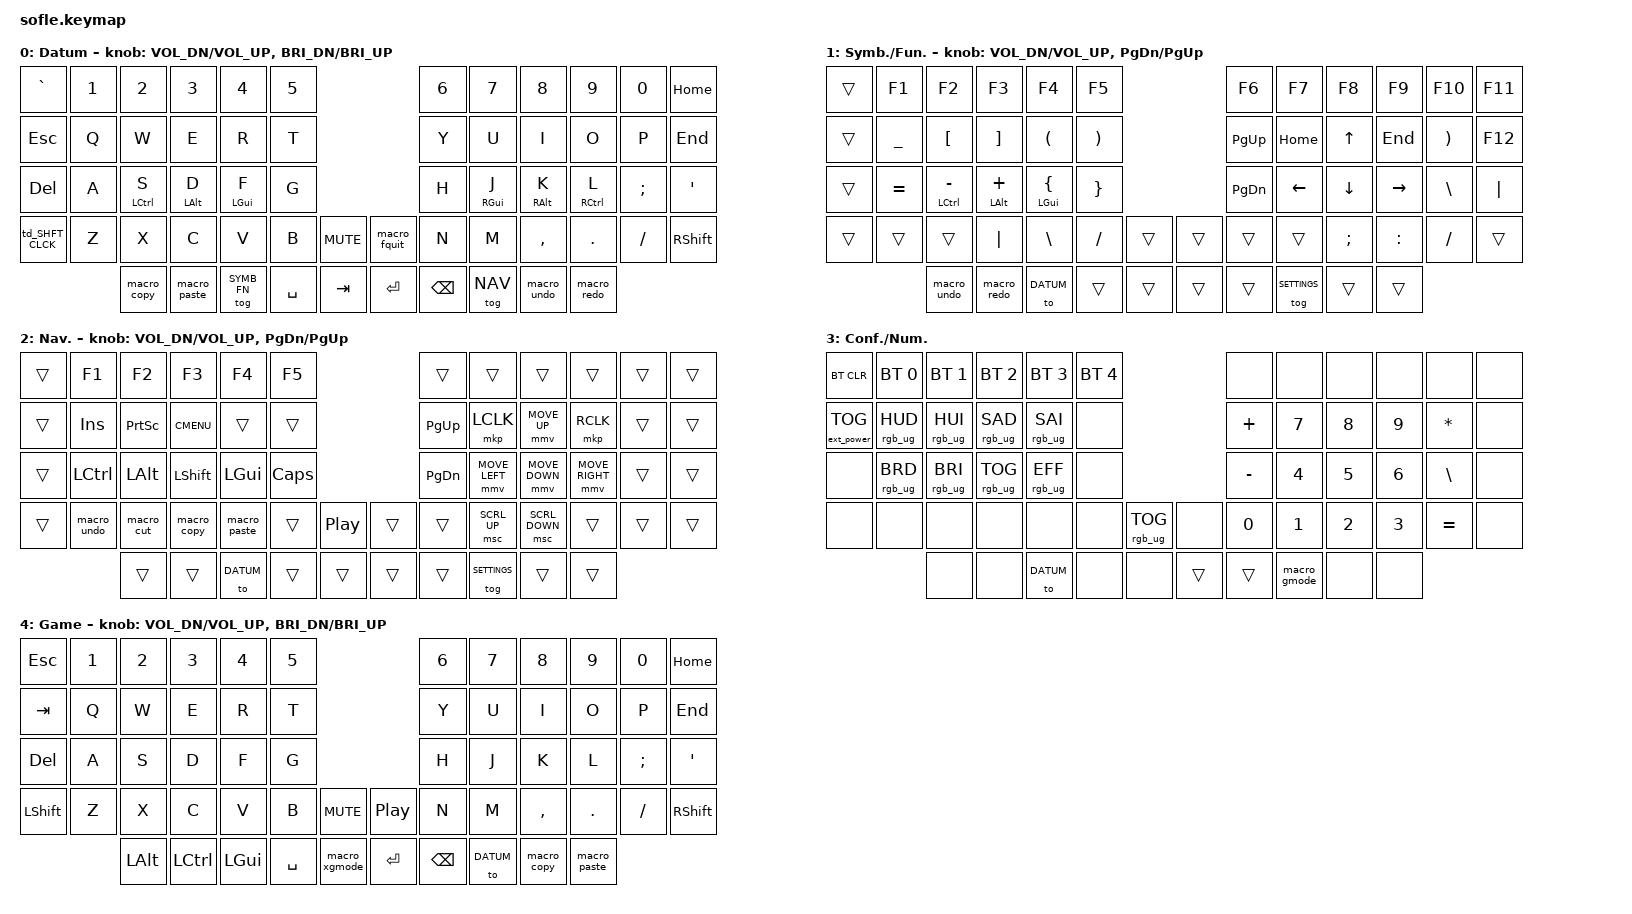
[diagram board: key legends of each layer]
/*
 * Copyright (c) 2020 The ZMK Contributors
 *
 * SPDX-License-Identifier: MIT
 */

#include <behaviors.dtsi>
#include <dt-bindings/zmk/keys.h>
#include <dt-bindings/zmk/bt.h>
#include <dt-bindings/zmk/rgb.h>
#include <dt-bindings/zmk/ext_power.h>
#include <dt-bindings/zmk/pointing.h>

#define DATUM 0
#define SYMB_FN 1
#define NAV 2
#define SETTINGS 3
#define GAME 4

/ {

    // Homerow mods (short tap term), tapdance shift/capslock
      behaviors {
              hm: homerow_mods {
                  compatible = "zmk,behavior-hold-tap";
                  #binding-cells = <2>;
                  tapping-term-ms = <300>;
                  quick-tap-ms = <0>;
                  flavor = "tap-preferred";
                  bindings = <&kp>, <&kp>;
              };

              td_SHFT_CLCK: tap_dance_0 {
                compatible = "zmk,behavior-tap-dance";
                #binding-cells = <0>;
                tapping-term-ms = <200>;
                bindings = <&kp LSHFT>, <&kp CLCK>;
              };
          };

    // Macros
      macros {
          macro_copy: macro_copy {
              compatible = "zmk,behavior-macro";
              #binding-cells = <0>;
              bindings
                  = <&macro_press &kp LGUI>
                  , <&macro_tap &kp C>
                  , <&macro_release &kp LGUI>
                  ;
          };

          macro_paste: macro_paste {
              compatible = "zmk,behavior-macro";
              #binding-cells = <0>;
              bindings
                  = <&macro_press &kp LGUI>
                  , <&macro_tap &kp V>
                  , <&macro_release &kp LGUI>
                  ;
          };

          macro_undo: macro_undo {
              compatible = "zmk,behavior-macro";
              #binding-cells = <0>;
              bindings
                  = <&macro_press &kp LGUI>
                  , <&macro_tap &kp Z>
                  , <&macro_release &kp LGUI>
                  ;
          };

          macro_redo: macro_redo {
              compatible = "zmk,behavior-macro";
              #binding-cells = <0>;
              bindings
                  = <&macro_press &kp LGUI>
                  , <&macro_press &kp LSHIFT>
                  , <&macro_tap &kp Z>
                  , <&macro_release &kp LSHIFT>
                  , <&macro_release &kp LGUI>
                  ;
          };

          macro_cut: macro_cut {
              compatible = "zmk,behavior-macro";
              #binding-cells = <0>;
              bindings
                  = <&macro_press &kp LGUI>
                  , <&macro_tap &kp X>
                  , <&macro_release &kp LGUI>
                  ;
          };

          macro_fquit: macro_fquit {
              compatible = "zmk,behavior-macro";
              #binding-cells = <0>;
              bindings
                  = <&macro_press &kp LGUI>
                  , <&macro_press &kp LALT>
                  , <&macro_tap &kp ESC>
                  , <&macro_release &kp LALT>
                  , <&macro_release &kp LGUI>
                  ;
          };

          macro_gmode: macro_gmode {
              compatible = "zmk,behavior-macro";
              #binding-cells = <0>;
              bindings
                  = <&macro_press &tog GAME>
                  , <&macro_tap &rgb_ug RGB_COLOR_HSB(206,100,40)>
                  ;
          };

          macro_xgmode: macro_xgmode {
              compatible = "zmk,behavior-macro";
              #binding-cells = <0>;
              bindings
                  = <&macro_press &to DATUM>
                  , <&macro_tap &rgb_ug RGB_COLOR_HSB(250,100,40)>
                  ;
          };

          };

    // Main keymap

    keymap {
        compatible = "zmk,keymap";


        datum_layer {
            display-name = "Datum";
            bindings = <
&kp GRAVE     &kp N1 &kp N2        &kp N3       &kp N4       &kp N5                             &kp N6    &kp N7      &kp N8      &kp N9      &kp N0   &kp HOME
&kp ESC       &kp Q  &kp W         &kp E        &kp R        &kp T                              &kp Y     &kp U       &kp I       &kp O       &kp P    &kp END
&kp DEL       &kp A  &hm LCTRL S   &hm LALT D   &hm LGUI F   &kp G                              &kp H     &hm RGUI J  &hm RALT K  &hm RCTRL L &kp SEMI &kp SQT
&td_SHFT_CLCK &kp Z  &kp X         &kp C        &kp V        &kp B      &kp C_MUTE &macro_fquit &kp N     &kp M       &kp COMMA   &kp DOT     &kp FSLH &kp RSHFT
                     &macro_copy   &macro_paste &tog SYMB_FN &kp SPACE  &kp TAB    &kp RET      &kp BSPC  &tog NAV    &macro_undo &macro_redo
            >;
            sensor-bindings = <&inc_dec_kp C_VOL_DN C_VOL_UP &inc_dec_kp C_BRI_DN C_BRI_UP>;
        };


        symb_fn_layer {
            display-name = "Symb./Fun.";
            bindings = <
&trans &kp F1          &kp F2          &kp F3         &kp F4         &kp F5                 &kp F6    &kp F7        &kp F8    &kp F9    &kp F10   &kp F11
&trans &kp UNDERSCORE  &kp LBKT        &kp RBKT       &kp LPAR       &kp RPAR               &kp PG_UP &kp HOME      &kp UP    &kp END   &kp RPAR  &kp F12
&trans &kp EQUAL       &hm LCTRL MINUS &hm LALT PLUS  &hm LGUI LBRC  &kp RBRC               &kp PG_DN &kp LEFT      &kp DOWN  &kp RIGHT &kp BSLH  &kp PIPE
&trans &trans          &trans          &kp PIPE       &kp BSLH       &kp FSLH &trans &trans &trans    &trans        &kp SEMI  &kp COLON &kp FSLH  &trans
                       &macro_undo     &macro_redo    &to DATUM      &trans   &trans &trans &trans    &tog SETTINGS &trans    &trans
            >;
            sensor-bindings = <&inc_dec_kp C_VOL_DN C_VOL_UP &inc_dec_kp PG_DN PG_UP>;
        };


        nav_layer {
            display-name = "Nav.";
            bindings = <
&trans     &kp F1       &kp F2       &kp F3       &kp F4        &kp F5                            &trans    &trans          &trans          &trans          &trans  &trans
&trans     &kp INS      &kp PSCRN    &kp K_CMENU  &trans        &trans                            &kp PG_UP &mkp LCLK       &mmv MOVE_UP    &mkp RCLK       &trans  &trans
&trans     &kp LCTRL    &kp LALT     &kp LSHFT    &kp LGUI      &kp CLCK                          &kp PG_DN &mmv MOVE_LEFT  &mmv MOVE_DOWN  &mmv MOVE_RIGHT &trans  &trans
&trans     &macro_undo  &macro_cut   &macro_copy  &macro_paste  &trans    &kp C_PLAY_PAUSE &trans &trans    &msc SCRL_UP    &msc SCRL_DOWN  &trans          &trans  &trans
                        &trans       &trans       &to DATUM     &trans    &trans           &trans &trans    &tog SETTINGS   &trans          &trans
            >;
            sensor-bindings = <&inc_dec_kp C_VOL_DN C_VOL_UP &inc_dec_kp PG_DN PG_UP>;
        };


        settings_layer {
            display-name = "Conf./Num.";
            bindings = <
&bt BT_CLR        &bt BT_SEL 0    &bt BT_SEL 1    &bt BT_SEL 2    &bt BT_SEL 3    &bt BT_SEL 4                            &none     &none        &none  &none  &none     &none
&ext_power EP_TOG &rgb_ug RGB_HUD &rgb_ug RGB_HUI &rgb_ug RGB_SAD &rgb_ug RGB_SAI &none                                   &kp PLUS  &kp N7       &kp N8 &kp N9 &kp ASTRK &none
&none             &rgb_ug RGB_BRD &rgb_ug RGB_BRI &rgb_ug RGB_TOG &rgb_ug RGB_EFF &none                                   &kp MINUS &kp N4       &kp N5 &kp N6 &kp BSLH  &none
&none             &none           &none           &none           &none           &none            &rgb_ug RGB_TOG &none  &kp N0    &kp N1       &kp N2 &kp N3 &kp EQUAL &none
                                  &none           &none           &to DATUM       &none            &none           &trans &trans    &macro_gmode &none  &none
            >;
        };


        gaming_layer {
            display-name = "Game";
            bindings = <
&kp ESC   &kp N1 &kp N2   &kp N3    &kp N4    &kp N5                                    &kp N6    &kp N7     &kp N8       &kp N9      &kp N0   &kp HOME
&kp TAB   &kp Q  &kp W    &kp E     &kp R     &kp T                                     &kp Y     &kp U      &kp I        &kp O       &kp P    &kp END
&kp DEL   &kp A  &kp S    &kp D     &kp F     &kp G                                     &kp H     &kp J      &kp K        &kp L       &kp SEMI &kp SQT
&kp LSHFT &kp Z  &kp X    &kp C     &kp V     &kp B      &kp C_MUTE    &kp C_PLAY_PAUSE &kp N     &kp M      &kp COMMA    &kp DOT     &kp FSLH &kp RSHFT
                 &kp LALT &kp LCTRL &kp LGUI  &kp SPACE  &macro_xgmode &kp RET          &kp BSPC  &to DATUM  &macro_copy  &macro_paste
            >;
            sensor-bindings = <&inc_dec_kp C_VOL_DN C_VOL_UP &inc_dec_kp C_BRI_DN C_BRI_UP>;
        };

    };
};
